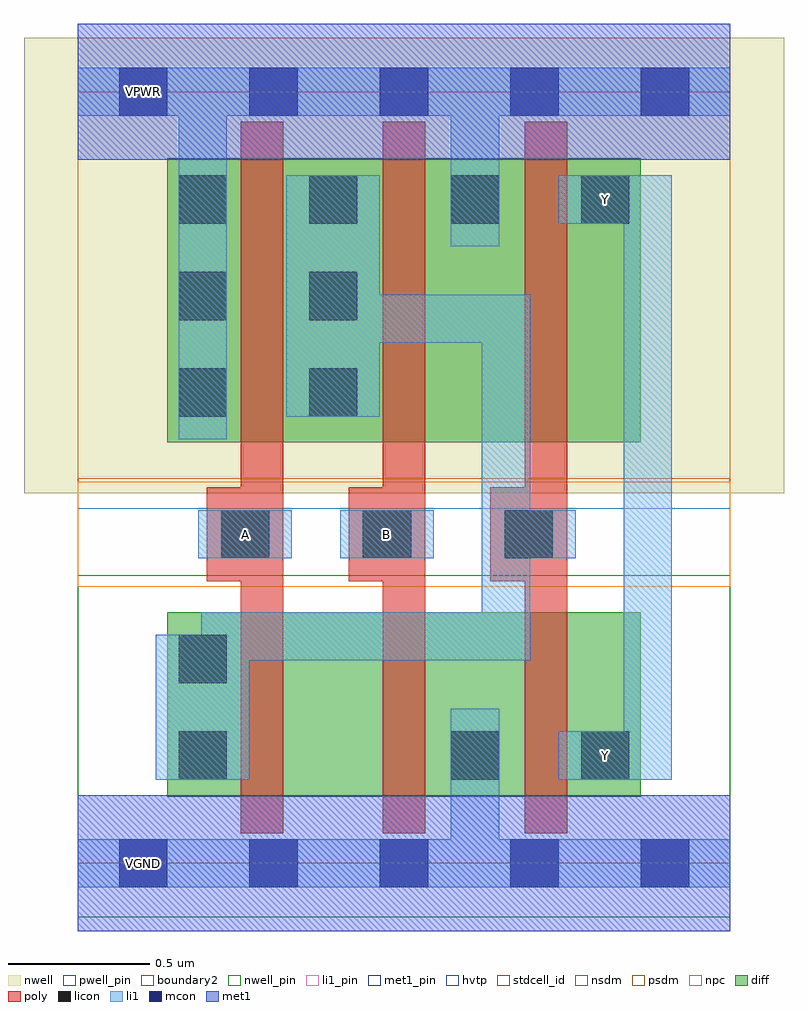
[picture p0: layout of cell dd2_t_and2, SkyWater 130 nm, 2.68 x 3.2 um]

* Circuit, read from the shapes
.subckt dd2_t_and2 A B VGND VNB VPB VPWR Y
XM1 n1 A n2 VNB sky130_fd_pr__nfet_01v8 w=0.65 l=0.15
XM2 VGND B n1 VNB sky130_fd_pr__nfet_01v8 w=0.65 l=0.15
XM3 Y n2 VGND VNB sky130_fd_pr__nfet_01v8 w=0.65 l=0.15
XM4 n2 A VPWR VPB sky130_fd_pr__pfet_01v8_hvt w=1 l=0.15
XM5 VPWR B n2 VPB sky130_fd_pr__pfet_01v8_hvt w=1 l=0.15
XM6 Y n2 VPWR VPB sky130_fd_pr__pfet_01v8_hvt w=1 l=0.15
.ends

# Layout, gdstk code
import gdstk
lib = gdstk.Library(unit=1e-6, precision=1e-09)
def R(c, l, rs):  # rectangles x0, y0, x1, y1
    for r in rs: c.add(gdstk.rectangle(r[:2], r[2:], *l))
def A(c, l, x, y, w, h, nx, ny, dx, dy):  # array of equal rectangles
    R(c, l, [(x+i*dx, y+j*dy, x+i*dx+w, y+j*dy+h) for i in range(nx) for j in range(ny)])
nwell_pin = (64, 16)
nwell = (64, 20)
diff = (65, 20)
poly = (66, 20)
licon = (66, 44)
li1_pin = (67, 16)
li1 = (67, 20)
mcon = (67, 44)
met1_pin = (68, 16)
met1 = (68, 20)
hvtp = (78, 44)
stdcell_id = (81, 4)
nsdm = (93, 44)
psdm = (94, 20)
npc = (95, 20)
pwell_pin = (122, 16)
boundary2 = (236, 0)

dd2_t_and2 = lib.new_cell('dd2_t_and2')
R(dd2_t_and2, nwell_pin, [(0.145,2.635,0.315,2.805)])
R(dd2_t_and2, nwell, [(-0.19,1.305,2.49,2.91)])
R(dd2_t_and2, diff, [(0.315,0.235,0.9,0.885), (0.9,0.235,1.4,0.885), (1.4,0.235,1.985,0.885), (0.315,1.485,0.9,2.485), (0.9,1.485,1.4,2.485), (1.4,1.485,1.985,2.485)])
A(dd2_t_and2, poly, 0.575, 0.105, 0.15, 2.51, 3, 1, 0.5, 0)
A(dd2_t_and2, poly, 0.455, 0.995, 0.27, 0.33, 3, 1, 0.5, 0)
A(dd2_t_and2, licon, 0.505, 1.075, 0.17, 0.17, 3, 1, 0.5, 0)
A(dd2_t_and2, licon, 0.355, 1.575, 0.17, 0.17, 1, 3, 0, 0.34)
A(dd2_t_and2, licon, 0.815, 1.575, 0.17, 0.17, 1, 3, 0, 0.34)
R(dd2_t_and2, licon, [(0.355,0.295,0.525,0.465), (1.315,0.295,1.485,0.465), (1.775,0.295,1.945,0.465), (0.355,0.635,0.525,0.805), (1.315,2.255,1.485,2.425), (1.775,2.255,1.945,2.425)])
R(dd2_t_and2, li1_pin, [(1.775,0.295,1.945,0.465), (0.505,1.075,0.675,1.245), (1.005,1.075,1.175,1.245), (1.775,2.255,1.945,2.425)])
A(dd2_t_and2, li1, 0.425, 1.075, 0.33, 0.17, 3, 1, 0.5, 0)
R(dd2_t_and2, li1, [(0,-0.085,2.3,0.085), (1.315,-0.085,1.485,0.545), (0.275,0.295,0.605,0.465), (0.275,0.295,0.605,0.805), (0.435,0.295,0.605,0.885), (1.695,0.295,2.025,0.465), (1.855,0.295,2.095,0.465), (1.925,0.295,2.095,2.425), (0.435,0.715,1.595,0.885), (1.425,0.715,1.595,1.245), (1.425,1.075,1.595,2.005), (0.355,1.495,0.525,2.085), (0.735,1.575,1.065,2.085), (0.355,1.835,0.525,2.425), (0.895,1.835,1.595,2.005), (0.895,1.835,1.065,2.425), (0.735,1.915,1.065,2.425), (0.355,2.085,0.525,2.175), (0.355,2.085,0.525,2.175), (0.355,2.085,0.525,2.175), (0.355,2.085,0.525,2.175), (0.355,2.175,0.525,2.805), (1.315,2.175,1.485,2.805), (0.735,2.255,1.065,2.425), (1.695,2.255,2.025,2.425), (1.855,2.255,2.095,2.425), (0,2.635,2.3,2.805)])
A(dd2_t_and2, mcon, 0.145, -0.085, 0.17, 0.17, 5, 2, 0.46, 2.72)
R(dd2_t_and2, met1_pin, [(0.145,-0.085,0.315,0.085), (0.145,2.635,0.315,2.805)])
R(dd2_t_and2, met1, [(0,-0.24,2.3,0.24), (0,2.48,2.3,2.96)])
R(dd2_t_and2, hvtp, [(0,1.25,2.3,2.72)])
R(dd2_t_and2, stdcell_id, [(0,0,2.3,2.72)])
R(dd2_t_and2, nsdm, [(0,-0.19,2.3,1.015)])
R(dd2_t_and2, psdm, [(0,1.355,2.3,2.91)])
R(dd2_t_and2, npc, [(0,0.975,2.3,1.345)])
R(dd2_t_and2, pwell_pin, [(0.145,-0.085,0.315,0.085)])
R(dd2_t_and2, boundary2, [(0,0,2.3,2.72)])
dd2_t_and2.add(gdstk.Label('A', (0.59,1.16), layer=67, texttype=5))
dd2_t_and2.add(gdstk.Label('B', (1.09,1.16), layer=67, texttype=5))
dd2_t_and2.add(gdstk.Label('Y', (1.86,0.38), layer=67, texttype=5))
dd2_t_and2.add(gdstk.Label('Y', (1.86,2.34), layer=67, texttype=5))
dd2_t_and2.add(gdstk.Label('VGND', (0.23,0), layer=68, texttype=5))
dd2_t_and2.add(gdstk.Label('VPWR', (0.23,2.72), layer=68, texttype=5))
dd2_t_and2.add(gdstk.Label('VPB', (0.23,2.72), layer=64, texttype=5))
dd2_t_and2.add(gdstk.Label('VNB', (0.23,0), layer=64, texttype=59))

lib.write_gds('dd2_t_and2.gds')
